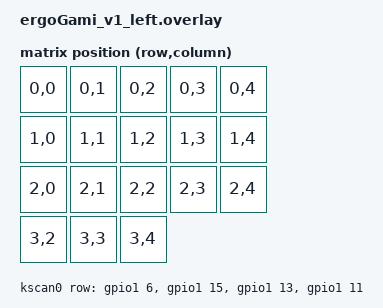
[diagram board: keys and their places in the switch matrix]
#include <dt-bindings/zmk/matrix_transform.h>

// GPIO configuration for the board
&gpio0 {
    status = "okay";  // Ensure gpio0 is enabled
};

&gpio1 {
    status = "okay";  // Ensure gpio1 is enabled (only defined once)
};

// Root node configuration
/ {
    chosen {
        zmk,kscan = &kscan0;           // Define key scan configuration
        zmk,matrix_transform = &default_transform;
        zmk,display = &nice_view;      // Point to the display device (nice_view)
    };

    // Keyboard matrix (6x4 left, 5x4 right)
    default_transform: keymap_transform_0 {
        compatible = "zmk,matrix-transform";
        columns = <6>;  // Left half: 6 columns
        rows = <4>;     // Define number of rows
        map = <
            // Left half (18 keys)
            RC(0,0) RC(0,1) RC(0,2) RC(0,3) RC(0,4) 
            RC(1,0) RC(1,1) RC(1,2) RC(1,3) RC(1,4) 
            RC(2,0) RC(2,1) RC(2,2) RC(2,3) RC(2,4) 
            RC(3,2) RC(3,3) RC(3,4)
        >;
    };

    // Keyscan GPIO configuration
    kscan0: kscan {
        compatible = "zmk,kscan-gpio-matrix";
        
        diode-direction = "col2row";  // Set diode direction for the matrix
        row-gpios = <
            &gpio1 6  (GPIO_ACTIVE_HIGH | GPIO_PULL_DOWN)  // Row 0 (P1.06)
            &gpio1 15 (GPIO_ACTIVE_HIGH | GPIO_PULL_DOWN)  // Row 1 (P1.15)
            &gpio1 13 (GPIO_ACTIVE_HIGH | GPIO_PULL_DOWN)  // Row 2 (P1.13)
            &gpio1 11 (GPIO_ACTIVE_HIGH | GPIO_PULL_DOWN)  // Row 3 (P1.11)
        >;
    };

    // Widget for Layer Status
    layer_status: layer_status {
        compatible = "zmk,layer-status";
        status = "okay";
        // Optionally, you can add properties for this widget (e.g., position, color, etc.)
        x = <0>;
        y = <0>;
        color = <0xFFFFFF>;  // White color for example
    };

    // Widget for Battery Status
    battery_status: battery_status {
        compatible = "zmk,battery-status";
        status = "okay";
        // Additional properties such as display format, color, etc. can be specified.
        x = <50>;
        y = <0>;
        color = <0xFF0000>;  // Red color as an example
    };

    // Widget for Output Status
    output_status: output_status {
        compatible = "zmk,output-status";
        status = "okay";
        // Similar display properties can be added here.
        x = <100>;
        y = <0>;
        color = <0x00FF00>;  // Green color as an example
    };

    // Nice View Configuration (for display behavior)
    nice_view: display@3c {
        compatible = "zmk,nice-view";
        reg = <0x3c>;                 // Define I2C address
        label = "NiceView";           // Label the device
    };

    // Behavior configuration (display nice view)
    nice_view_behavior: behavior_nice_view {
        compatible = "zmk,behavior-nice-view";
        #binding-cells = <0>;
        display = <&nice_view>;       // Link to the NiceView display
        widgets = <
            &layer_status
            &battery_status
            &output_status
        >;  // Define the widgets for display
    };
};
